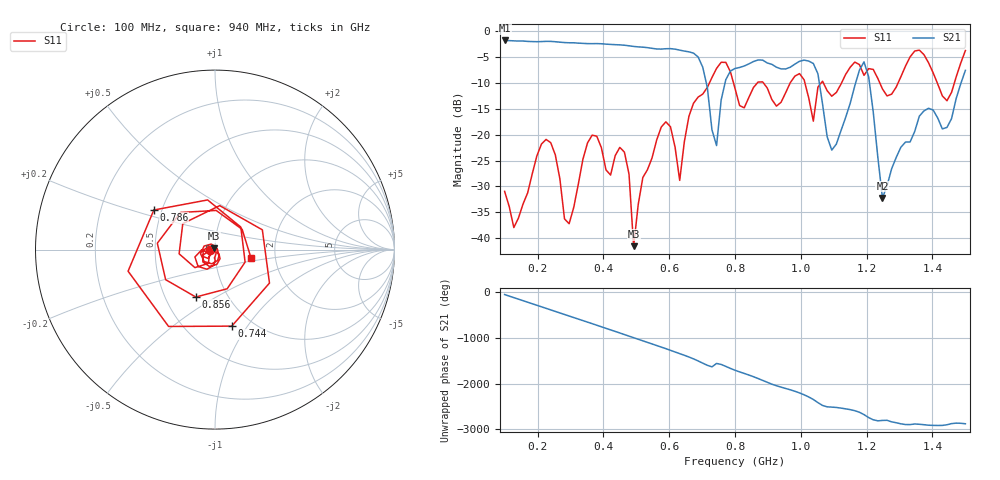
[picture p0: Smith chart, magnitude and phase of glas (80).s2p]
! NanoVNA-App
! Date: 2025-09-25 15:56:06
! Start: 100MHz Stop: 1,5GHz Points: 101
! S-Parameter data: F S11 S21 S12 S22
# Hz S RI R 50
!  Frequency  S11_Real  S11_Imag  S21_Real  S21_Imag  S12_Real  S12_Imag  S22_Real  S22_Imag
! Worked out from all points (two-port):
!   101 points, 100 MHz to 1.5 GHz, reference 50 ohm
!   highest |S21| = -1.80 dB at 100 MHz (marker M1); lowest = -32.2 dB at 1.248 GHz (marker M2)
!   |S21| within 3 dB of the highest: start of sweep to 684.3 MHz
!   lowest |S11| = -41.6 dB at 492 MHz (marker M3), VSWR 1.02, Z = 49.5 + j0.641 ohm
!   |S11| at or under -10 dB: start of sweep to 722.4 MHz; 795.4 MHz to 867.9 MHz (72.51 MHz wide, 8.72 % of centre); 886.3 MHz to 967.7 MHz (81.4 MHz wide, 8.78 % of centre) (the widest 3 of 7)
!   S12 and S22 are empty: the file has one direction only
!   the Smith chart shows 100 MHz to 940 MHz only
!   S11 on the Smith chart (normalised r, x): 100 MHz: 0.95, -0.01; 744 MHz: 0.81, -0.85; 786 MHz: 0.45, +0.24; 856 MHz: 0.71, -0.41; 940 MHz: 1.49, -0.14
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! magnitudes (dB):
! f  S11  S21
! 100 MHz  -31.0  -1.8
! 128 MHz  -38.0  -1.9
! 226 MHz  -20.9  -2.0
! 296 MHz  -37.2  -2.2
! 338 MHz  -24.7  -2.4
! 464 MHz  -23.4  -2.7
! 492 MHz  -41.6  -3.0
! 576 MHz  -18.5  -3.5
! 632 MHz  -28.8  -3.7
! 702 MHz  -12.2  -7.0
! 744 MHz  -7.2  -22.1
! 786 MHz  -7.8  -7.7
! 800 MHz  -11.1  -7.2
! 856 MHz  -10.9  -5.9
! 940 MHz  -13.7  -7.3
! 996 MHz  -8.2  -5.8
! 1.038 GHz  -17.4  -6.3
! 1.094 GHz  -12.6  -23.0
! 1.192 GHz  -8.5  -5.9
! 1.248 GHz  -11.2  -32.2
! 1.276 GHz  -12.2  -26.6
! 1.5 GHz  -3.8  -7.6
